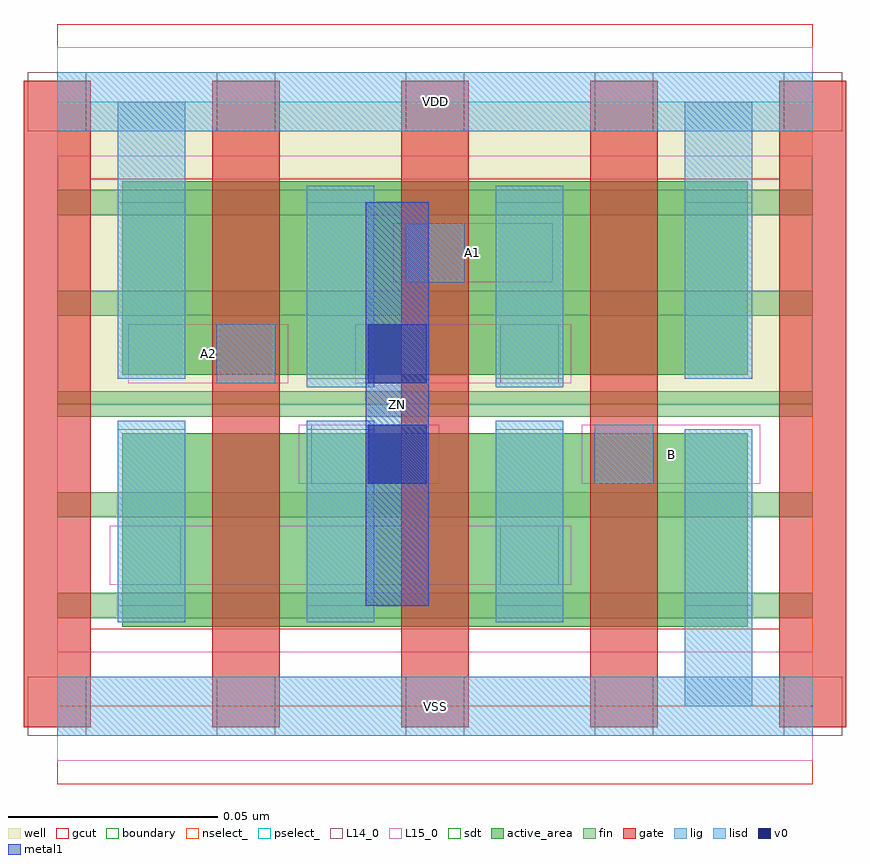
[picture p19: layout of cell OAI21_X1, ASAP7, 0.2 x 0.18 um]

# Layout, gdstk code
import gdstk
lib = gdstk.Library(unit=1e-6, precision=2.5e-10)
def R(c, l, rs):  # rectangles x0, y0, x1, y1
    for r in rs: c.add(gdstk.rectangle(r[:2], r[2:], *l))
def A(c, l, x, y, w, h, nx, ny, dx, dy):  # array of equal rectangles
    R(c, l, [(x+i*dx, y+j*dy, x+i*dx+w, y+j*dy+h) for i in range(nx) for j in range(ny)])
well = (1, 0)
fin = (2, 0)
gate = (7, 0)
gcut = (10, 0)
active_area = (11, 0)
nselect_ = (12, 0)
pselect_ = (13, 0)
L14_0 = (14, 0)
L15_0 = (15, 0)
lig = (16, 0)
lisd = (17, 0)
v0 = (18, 0)
metal1 = (19, 0)
sdt = (88, 0)
boundary = (100, 0)

oai21_x1 = lib.new_cell('OAI21_X1')
R(oai21_x1, well, [(0,0.072,0.18,0.144)])
A(oai21_x1, fin, 0, 0.021, 0.18, 0.006, 1, 5, 0, 0.024)
A(oai21_x1, gate, -0.008, -0.005, 0.016, 0.154, 5, 1, 0.045, 0)
R(oai21_x1, gcut, [(0,-0.0185,0.18,0.0185), (-0.008,-0.005,0.008,0.149), (0.172,-0.005,0.188,0.149), (0,0.1255,0.18,0.1625)])
A(oai21_x1, active_area, 0.0155, 0.019, 0.059, 0.046, 3, 2, 0.045, 0.06)
R(oai21_x1, nselect_, [(0,0,0.18,0.072)])
R(oai21_x1, pselect_, [(0,0.072,0.18,0.144)])
A(oai21_x1, L14_0, -0.007, -0.007, 0.014, 0.014, 5, 2, 0.045, 0.144)
R(oai21_x1, L14_0, [(0.0155,0.029,0.0295,0.043), (0.1055,0.029,0.1195,0.043), (0.0605,0.053,0.0745,0.067), (0.128,0.053,0.142,0.067), (0.038,0.077,0.052,0.091), (0.1055,0.077,0.1195,0.091), (0.083,0.101,0.097,0.115)])
R(oai21_x1, L15_0, [(0,-0.013,0.18,0.013), (0.0125,0.029,0.1225,0.043), (0.0575,0.053,0.091,0.067), (0.125,0.053,0.1675,0.067), (0.017,0.077,0.055,0.091), (0.071,0.077,0.1225,0.091), (0.08,0.101,0.118,0.115), (0,0.131,0.18,0.157)])
R(oai21_x1, lig, [(0,-0.007,0.18,0.007), (0.128,0.053,0.142,0.067), (0.038,0.077,0.052,0.091), (0.083,0.101,0.097,0.115), (0,0.137,0.18,0.151)])
R(oai21_x1, lisd, [(0.1495,0,0.1655,0.066), (0.0145,0.02,0.0305,0.068), (0.0595,0.02,0.0755,0.068), (0.0595,0.02,0.0755,0.068), (0.1045,0.02,0.1205,0.068), (0.1045,0.02,0.1205,0.068), (0.0595,0.076,0.0755,0.124), (0.0595,0.076,0.0755,0.124), (0.1045,0.076,0.1205,0.124), (0.1045,0.076,0.1205,0.124), (0.0145,0.078,0.0305,0.144), (0.1495,0.078,0.1655,0.144)])
R(oai21_x1, v0, [(0.074,0.053,0.088,0.067), (0.074,0.077,0.088,0.091)])
R(oai21_x1, metal1, [(0.0735,0.024,0.0885,0.12)])
R(oai21_x1, sdt, [(0.0145,0.024,0.0305,0.066), (0.0595,0.024,0.0755,0.066), (0.0595,0.024,0.0755,0.066), (0.1045,0.024,0.1205,0.066), (0.1045,0.024,0.1205,0.066), (0.1495,0.024,0.1655,0.066), (0.0145,0.078,0.0305,0.12), (0.0595,0.078,0.0755,0.12), (0.0595,0.078,0.0755,0.12), (0.1045,0.078,0.1205,0.12), (0.1045,0.078,0.1205,0.12), (0.1495,0.078,0.1655,0.12)])
R(oai21_x1, boundary, [(0,0,0.18,0.144)])
oai21_x1.add(gdstk.Label('VDD', (0.09,0.144), layer=1, texttype=251))
oai21_x1.add(gdstk.Label('VSS', (0.09,0), layer=3, texttype=251))
oai21_x1.add(gdstk.Label('A2', (0.036,0.084), layer=15, texttype=251))
oai21_x1.add(gdstk.Label('A1', (0.099,0.108), layer=15, texttype=251))
oai21_x1.add(gdstk.Label('B', (0.1462,0.06), layer=15, texttype=251))
oai21_x1.add(gdstk.Label('VSS', (0.09,0), layer=15, texttype=251))
oai21_x1.add(gdstk.Label('VDD', (0.09,0.144), layer=15, texttype=251))
oai21_x1.add(gdstk.Label('ZN', (0.081,0.072), layer=19, texttype=251))

lib.write_gds('OAI21_X1.gds')
